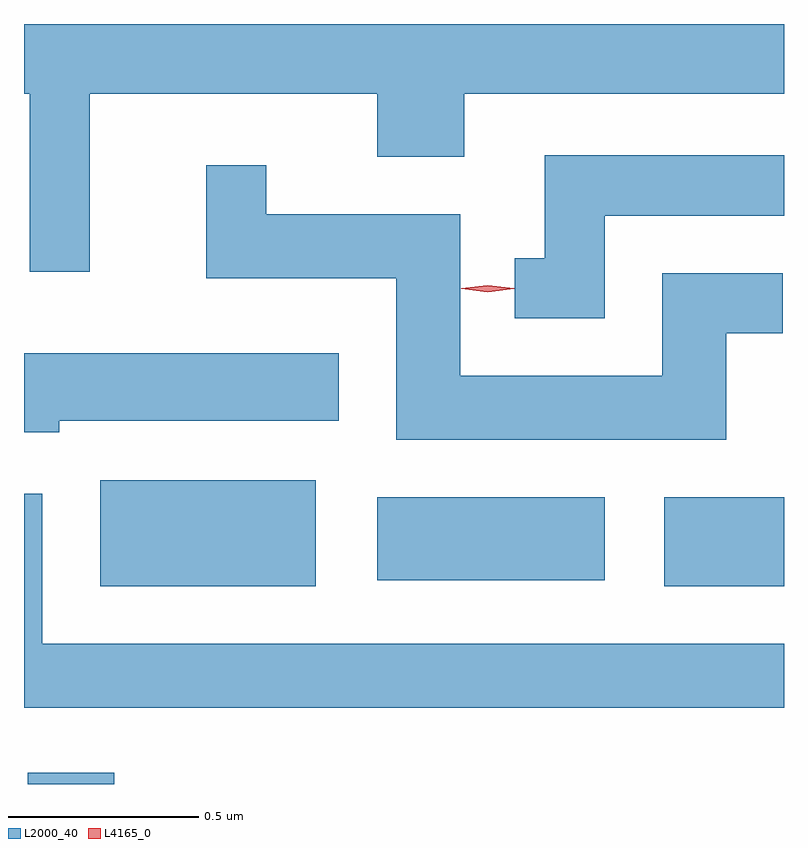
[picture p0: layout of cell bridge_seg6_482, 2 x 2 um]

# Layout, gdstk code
import gdstk
lib = gdstk.Library(unit=1e-6, precision=1e-09)
def R(c, l, rs):  # rectangles x0, y0, x1, y1
    for r in rs: c.add(gdstk.rectangle(r[:2], r[2:], *l))
def P(c, l, *ps):  # polygons
    for p in ps: c.add(gdstk.Polygon(p, *l))
L2000_40 = (2000, 40)
L4165_0 = (4165, 0)

bridge_seg6_482 = lib.new_cell('bridge_seg6_482')
R(bridge_seg6_482, L2000_40, [(805.591,1601.5,805.819,1601.529), (805.781,1602.021,806.349,1602.299), (807.266,1602.021,807.581,1602.254), (806.511,1602.036,807.109,1602.254)])
P(bridge_seg6_482, L2000_40, [(805.754,1603.316),(806.511,1603.316),(806.511,1603.151),(806.739,1603.151),(806.739,1603.316),(807.581,1603.316),(807.581,1603.5),(805.581,1603.5),(805.581,1603.316),(805.596,1603.316),(805.596,1602.848),(805.754,1602.848)],
  [(807.109,1602.996),(807.581,1602.996),(807.581,1603.154),(806.951,1603.154),(806.951,1602.884),(806.873,1602.884),(806.873,1602.726),(807.109,1602.726)],
  [(807.429,1602.686),(807.578,1602.686),(807.578,1602.844),(807.261,1602.844),(807.261,1602.574),(806.729,1602.574),(806.729,1602.999),(806.219,1602.999),(806.219,1603.128),(806.061,1603.128),(806.061,1602.831),(806.561,1602.831),(806.561,1602.406),(807.429,1602.406)],
  [(805.674,1602.456),(806.409,1602.456),(806.409,1602.634),(805.581,1602.634),(805.581,1602.426),(805.674,1602.426)],
  [(807.581,1601.869),(805.629,1601.869),(805.629,1602.264),(805.581,1602.264),(805.581,1601.701),(807.581,1601.701)])
P(bridge_seg6_482, L4165_0, [(806.801,1602.794),(806.732,1602.803),(806.732,1602.803),(806.732,1602.804),(806.801,1602.813),(806.871,1602.804),(806.871,1602.804),(806.871,1602.803)])

lib.write_gds('bridge_seg6_482.gds')
